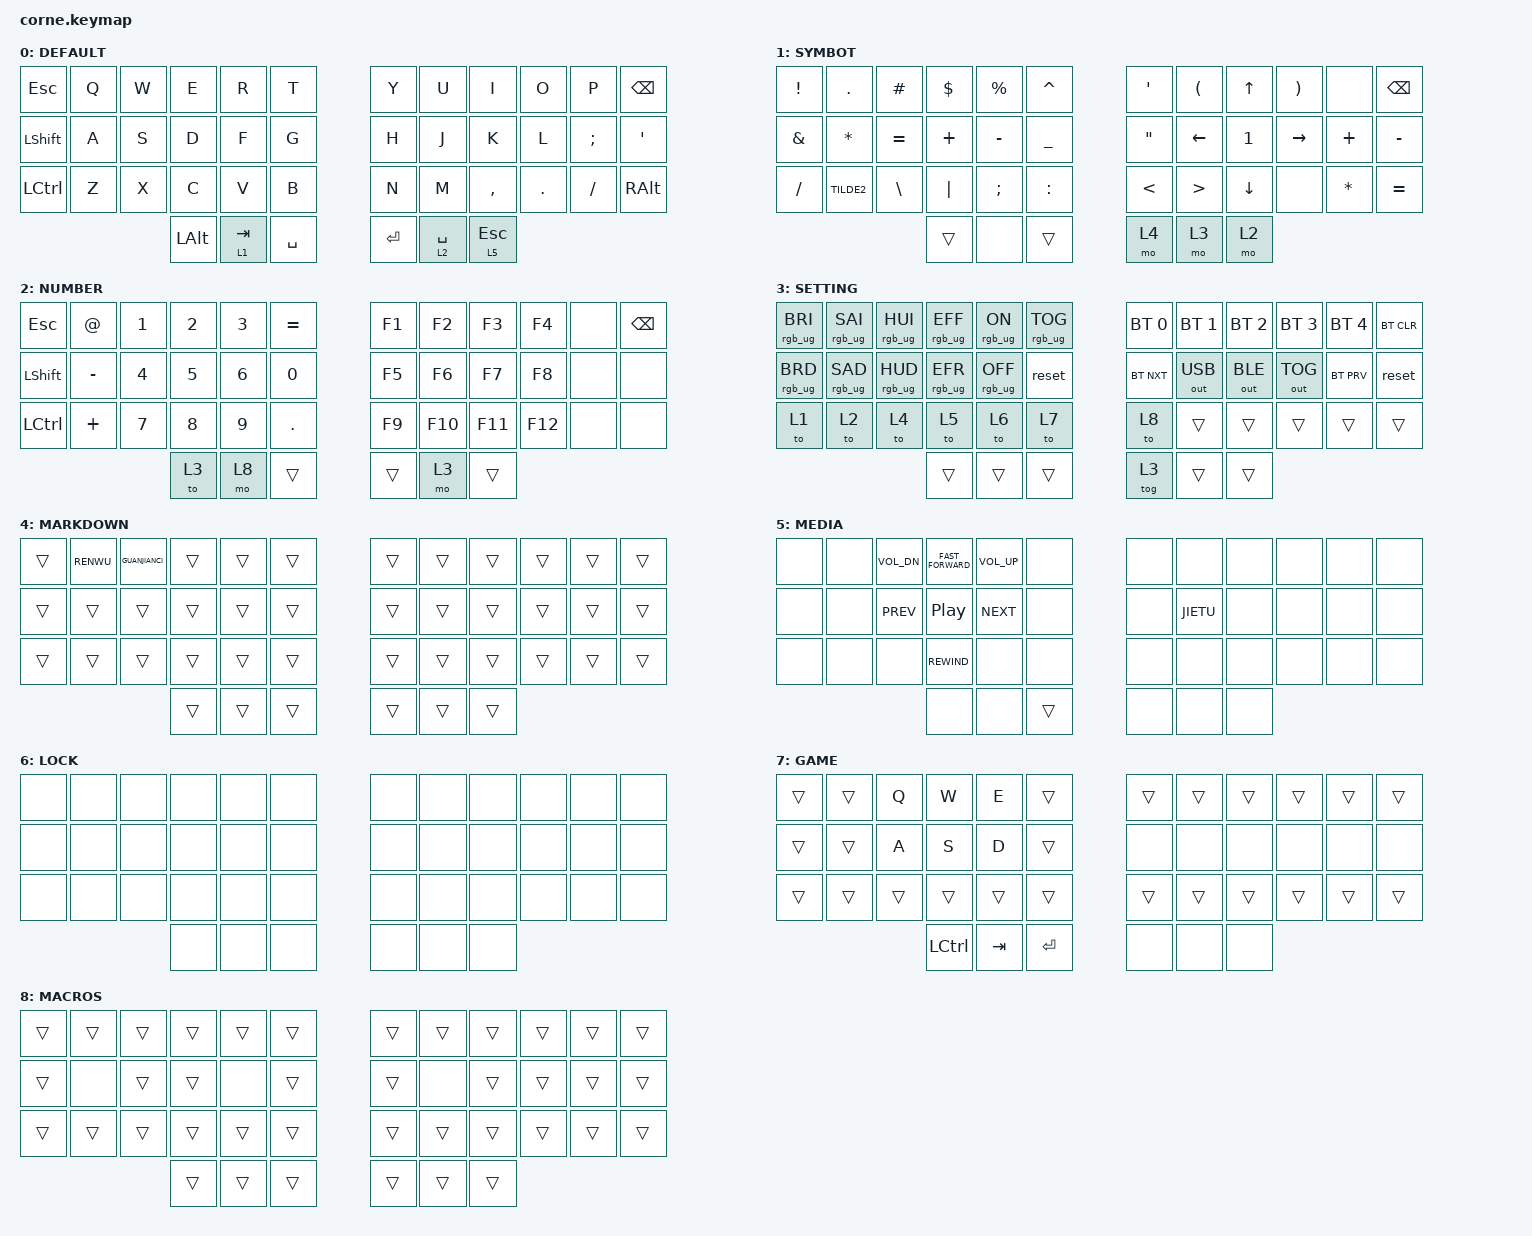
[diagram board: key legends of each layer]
/*
 * Copyright (c) 2020 The ZMK Contributors
 *
 * SPDX-License-Identifier: MIT
 */

#define DEFAULT  0
#define SYMBOT   1
#define NUMBER   2
#define SETTING  3
#define MARKDOWN 4
#define MEDIA    5
#define LOCK     6
#define GAME     7
#define MACROS   8

#include <behaviors.dtsi>
#include <dt-bindings/zmk/keys.h>
#include <dt-bindings/zmk/rgb.h>
#include <dt-bindings/zmk/bt.h>
#include <dt-bindings/zmk/outputs.h>

/ {
    behaviors {
        hm: homerow_mods {
            compatible = "zmk,behavior-hold-tap";
            label = "HOMEROW_MODS";
            #binding-cells = <2>;
            tapping-term-ms = <150>;
            quick-tap-ms = <0>;
            flavor = "tap-preferred";
            bindings =
                <&kp>,
                <&kp>;
        };
    };

    combos {
        compatible = "zmk,combos";

        tab {
            bindings = <&kp TAB>;
            key-positions = <0 1>;
            layers = <0 1 2 3 5 4 8>;
            timeout-ms = <50>;
        };

        esc {
            bindings = <&kp ESC>;
            key-positions = <12 13>;
            layers = <0 1 2 3 5 4 8>;
            timeout-ms = <50>;
        };

        up {
            bindings = <&kp UP>;
            key-positions = <8 20>;
            layers = <0 2 1 3 5 4 8>;
            timeout-ms = <50>;
        };

        down {
            bindings = <&kp DOWN>;
            key-positions = <32 20>;
            layers = <0 1 2 3 5 4 8>;
            timeout-ms = <50>;
        };

        left {
            bindings = <&kp LEFT>;
            key-positions = <20 19>;
            layers = <0 2 1 3 5 4 8>;
            timeout-ms = <50>;
        };

        right {
            bindings = <&kp RIGHT>;
            key-positions = <20 21>;
            layers = <0 2 1 3 5 4 8>;
            timeout-ms = <50>;
        };

        lockopen {
            bindings = <&to 0>;
            key-positions = <11 23 35>;
            timeout-ms = <50>;
            layers = <6 0 1 2 3 7 5 4 8>;
        };

        k1 {
            bindings = <&kp LPAR>;
            key-positions = <4 5>;
            layers = <0 1 2 3 5 4 8>;
            timeout-ms = <50>;
        };

        k2 {
            bindings = <&kp RPAR>;
            key-positions = <6 7>;
            layers = <0 1 2 3 5 4 8>;
            timeout-ms = <50>;
        };

        k3 {
            bindings = <&kp LBKT>;
            key-positions = <16 17>;
            layers = <0 1 2 3 5 4 8>;
            timeout-ms = <50>;
        };

        k4 {
            bindings = <&kp RBKT>;
            key-positions = <18 19>;
            layers = <0 1 2 3 5 4 8>;
            timeout-ms = <50>;
        };

        k5 {
            bindings = <&kp LBRC>;
            key-positions = <28 29>;
            layers = <0 1 2 3 5 4 8>;
            timeout-ms = <50>;
        };

        k6 {
            bindings = <&kp RBRC>;
            key-positions = <30 31>;
            layers = <0 1 2 3 5 4 8>;
            timeout-ms = <50>;
        };

        password {
            bindings = <&pasword>;
            key-positions = <16 3>;
            layers = <0 1 2 3 5 4 8>;
        };
    };

    macros {
        JIETU: JIETU {
            compatible = "zmk,behavior-macro";
            label = "new_macro";
            #binding-cells = <0>;
            bindings =
                <&macro_press>,
                <&kp RCTRL &kp LEFT_ALT &kp A>;
        };
        RENWU: RENWU {
            compatible = "zmk,behavior-macro";
            label = "new_macro";
            #binding-cells = <0>;
            bindings = <&kp PLUS &kp SPACE &kp LEFT_BRACKET &kp RIGHT_BRACKET &kp SPACE>;
        };
        GUANJIANCI: GUANJIANCI {
            compatible = "zmk,behavior-macro";
            label = "new_macro";
            #binding-cells = <0>;
            bindings = <&kp LSHIFT &kp LBKT &kp RBKT &kp LEFT &kp LSHIFT>;
        };
        pasword: pasword {
            compatible = "zmk,behavior-macro";
            label = "new_macro";
            #binding-cells = <0>;
            bindings = <&kp W &kp O &kp A &kp I &kp N &kp I &kp N1 &kp N9 &kp N9 &kp NUMBER_5>;
        };
    };

    keymap {
        compatible = "zmk,keymap";

        DEFAULT {
            label = "DEFAULT";
            bindings = <
        &kp ESC   &kp Q   &kp W     &kp E      &kp R      &kp T            &kp Y        &kp U      &kp I    &kp O     &kp P       &kp BSPC
 &kp LEFT_SHIFT   &kp A   &kp S     &kp D      &kp F      &kp G            &kp H        &kp J      &kp K    &kp L  &kp SEMI       &kp APOS
      &kp LCTRL   &kp Z   &kp X     &kp C      &kp V      &kp B            &kp N        &kp M  &kp COMMA  &kp DOT  &kp FSLH  &kp RIGHT_ALT
                                 &kp LALT  &lt 1 TAB  &kp SPACE          &kp RET  &lt 2 SPACE  &lt 5 ESC
            >;
        };

        SYMBOT {
            label = "SYMBOT";
            bindings = <
 &kp EXCL     &kp DOT   &kp HASH  &kp DLLR  &kp PRCNT  &kp CARET          &kp SQT  &kp LPAR    &kp UP   &kp RPAR     &none   &kp BSPC
 &kp AMPS    &kp STAR  &kp EQUAL  &kp PLUS  &kp MINUS  &kp UNDER          &kp DQT  &kp LEFT    &kp N1  &kp RIGHT  &kp PLUS  &kp MINUS
 &kp FSLH  &kp TILDE2   &kp BSLH  &kp PIPE   &kp SEMI  &kp COLON           &kp LT    &kp GT  &kp DOWN      &none  &kp STAR  &kp EQUAL
                                    &trans      &none     &trans            &mo 4     &mo 3     &mo 2
            >;
        };

        NUMBER {
            label = "NUMBER";
            bindings = <
        &kp ESC     &kp AT  &kp N1  &kp N2  &kp N3  &kp EQUAL          &kp F1   &kp F2   &kp F3   &kp F4   &none  &kp BSPC
 &kp LEFT_SHIFT  &kp MINUS  &kp N4  &kp N5  &kp N6     &kp N0          &kp F5   &kp F6   &kp F7   &kp F8   &none     &none
      &kp LCTRL   &kp PLUS  &kp N7  &kp N8  &kp N9    &kp DOT          &kp F9  &kp F10  &kp F11  &kp F12   &none     &none
                                     &to 3   &mo 8     &trans          &trans    &mo 3   &trans
            >;
        };

        SETTING {
            label = "SETTING";
            bindings = <
 &rgb_ug RGB_BRI  &rgb_ug RGB_SAI  &rgb_ug RGB_HUI  &rgb_ug RGB_EFF   &rgb_ug RGB_ON  &rgb_ug RGB_TOG          &bt BT_SEL 0  &bt BT_SEL 1  &bt BT_SEL 2  &bt BT_SEL 3  &bt BT_SEL 4  &bt BT_CLR
 &rgb_ug RGB_BRD  &rgb_ug RGB_SAD  &rgb_ug RGB_HUD  &rgb_ug RGB_EFR  &rgb_ug RGB_OFF           &reset            &bt BT_NXT  &out OUT_USB  &out OUT_BLE  &out OUT_TOG    &bt BT_PRV      &reset
           &to 1            &to 2            &to 4            &to 5            &to 6            &to 7                 &to 8        &trans        &trans        &trans        &trans      &trans
                                                             &trans           &trans           &trans                &tog 3        &trans        &trans
            >;
        };

        MARKDOWN {
            label = "MARKDOWN";
            bindings = <
 &trans  &RENWU  &GUANJIANCI  &trans  &trans  &trans          &trans  &trans  &trans  &trans  &trans  &trans
 &trans  &trans       &trans  &trans  &trans  &trans          &trans  &trans  &trans  &trans  &trans  &trans
 &trans  &trans       &trans  &trans  &trans  &trans          &trans  &trans  &trans  &trans  &trans  &trans
                              &trans  &trans  &trans          &trans  &trans  &trans
            >;
        };

        MEDIA {
            label = "MEDIA";
            bindings = <
  &none   &none  &kp C_VOL_DN  &kp C_FAST_FORWARD  &kp C_VOL_UP   &none           &none   &none   &none   &none   &none   &none
  &none   &none    &kp C_PREV    &kp C_PLAY_PAUSE    &kp C_NEXT   &none           &none  &JIETU   &none   &none   &none   &none
  &none   &none         &none        &kp C_REWIND         &none   &none           &none   &none   &none   &none   &none   &none
                                            &none         &none  &trans           &none   &none   &none
            >;
        };

        LOCK {
            label = "LOCK";
            bindings = <
  &none   &none   &none   &none   &none   &none           &none   &none   &none   &none   &none   &none
  &none   &none   &none   &none   &none   &none           &none   &none   &none   &none   &none   &none
  &none   &none   &none   &none   &none   &none           &none   &none   &none   &none   &none   &none
                          &none   &none   &none           &none   &none   &none
            >;
        };

        GAME {
            label = "GAME";
            bindings = <
 &trans  &trans   &kp Q      &kp W    &kp E     &trans          &trans  &trans  &trans  &trans  &trans  &trans
 &trans  &trans   &kp A      &kp S    &kp D     &trans           &none   &none   &none   &none   &none   &none
 &trans  &trans  &trans     &trans   &trans     &trans          &trans  &trans  &trans  &trans  &trans  &trans
                         &kp LCTRL  &kp TAB  &kp ENTER           &none   &none   &none
            >;
        };

        MACROS {
            label = "MACROS";
            bindings = <
 &trans  &trans  &trans  &trans  &trans  &trans          &trans  &trans  &trans  &trans  &trans  &trans
 &trans   &none  &trans  &trans   &none  &trans          &trans   &none  &trans  &trans  &trans  &trans
 &trans  &trans  &trans  &trans  &trans  &trans          &trans  &trans  &trans  &trans  &trans  &trans
                         &trans  &trans  &trans          &trans  &trans  &trans
            >;
        };
    };
};
